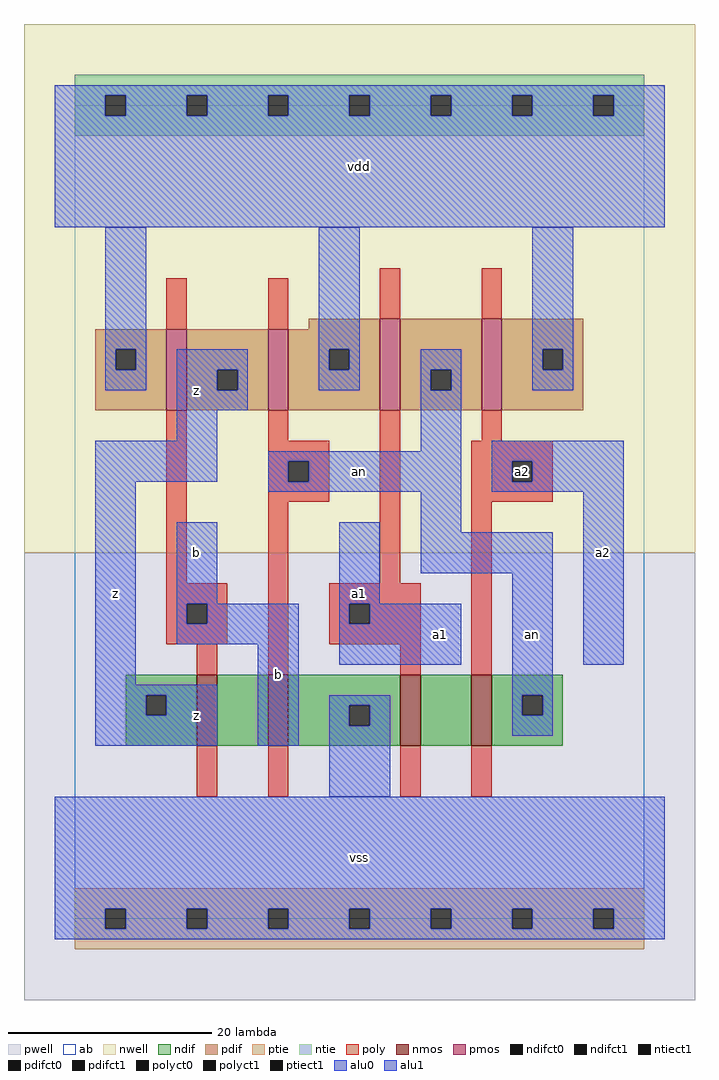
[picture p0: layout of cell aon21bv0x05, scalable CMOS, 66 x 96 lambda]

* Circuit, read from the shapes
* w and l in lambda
.subckt aon21bv0x05 a1 a2 an b vdd vss z
M1 n1 b z vss nfet w=7 l=2
M2 vss an n1 vss nfet w=7 l=2
M3 n2 a1 vss vss nfet w=7 l=2
M4 an a2 n2 vss nfet w=7 l=2
M5 z b vdd vdd pfet w=8 l=2
M6 vdd an z vdd pfet w=8 l=2
M7 an a1 vdd vdd pfet w=9 l=2
M8 vdd a2 an vdd pfet w=9 l=2
.ends

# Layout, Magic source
magic
tech scmos
<< ab >>
rect 0 0 56 80
<< nwell >>
rect -5 36 61 88
<< pwell >>
rect -5 -8 61 36
<< poly >>
rect 9 58 11 63
rect 19 58 21 63
rect 30 59 32 64
rect 40 59 42 64
rect 9 33 11 50
rect 19 47 21 50
rect 19 45 25 47
rect 19 43 21 45
rect 23 43 25 45
rect 19 41 25 43
rect 9 31 15 33
rect 9 29 11 31
rect 13 29 15 31
rect 9 27 15 29
rect 12 24 14 27
rect 19 24 21 41
rect 30 33 32 50
rect 40 47 42 50
rect 39 45 47 47
rect 39 43 43 45
rect 45 43 47 45
rect 39 41 47 43
rect 25 31 34 33
rect 25 29 27 31
rect 29 29 34 31
rect 25 27 34 29
rect 32 24 34 27
rect 39 24 41 41
rect 12 12 14 17
rect 19 12 21 17
rect 32 12 34 17
rect 39 12 41 17
<< ndif >>
rect 5 22 12 24
rect 5 20 7 22
rect 9 20 12 22
rect 5 17 12 20
rect 14 17 19 24
rect 21 21 32 24
rect 21 19 27 21
rect 29 19 32 21
rect 21 17 32 19
rect 34 17 39 24
rect 41 22 48 24
rect 41 20 44 22
rect 46 20 48 22
rect 41 17 48 20
<< pdif >>
rect 23 58 30 59
rect 2 56 9 58
rect 2 54 4 56
rect 6 54 9 56
rect 2 50 9 54
rect 11 54 19 58
rect 11 52 14 54
rect 16 52 19 54
rect 11 50 19 52
rect 21 56 30 58
rect 21 54 25 56
rect 27 54 30 56
rect 21 50 30 54
rect 32 54 40 59
rect 32 52 35 54
rect 37 52 40 54
rect 32 50 40 52
rect 42 56 50 59
rect 42 54 46 56
rect 48 54 50 56
rect 42 50 50 54
<< alu1 >>
rect -2 81 58 82
rect -2 79 3 81
rect 5 79 11 81
rect 13 79 19 81
rect 21 79 27 81
rect 29 79 35 81
rect 37 79 43 81
rect 45 79 51 81
rect 53 79 58 81
rect -2 68 58 79
rect 10 54 17 56
rect 10 52 14 54
rect 16 52 17 54
rect 10 50 17 52
rect 10 47 14 50
rect 2 43 14 47
rect 2 23 6 43
rect 41 45 54 47
rect 41 43 43 45
rect 45 43 54 45
rect 41 42 54 43
rect 10 31 14 39
rect 26 31 30 39
rect 10 29 11 31
rect 13 29 22 31
rect 10 27 22 29
rect 2 22 14 23
rect 2 20 7 22
rect 9 20 14 22
rect 2 17 14 20
rect 18 17 22 27
rect 26 29 27 31
rect 29 29 38 31
rect 26 25 38 29
rect 50 25 54 42
rect -2 1 58 12
rect -2 -1 3 1
rect 5 -1 11 1
rect 13 -1 19 1
rect 21 -1 27 1
rect 29 -1 35 1
rect 37 -1 43 1
rect 45 -1 51 1
rect 53 -1 58 1
rect -2 -2 58 -1
<< ptie >>
rect 0 1 56 3
rect 0 -1 3 1
rect 5 -1 11 1
rect 13 -1 19 1
rect 21 -1 27 1
rect 29 -1 35 1
rect 37 -1 43 1
rect 45 -1 51 1
rect 53 -1 56 1
rect 0 -3 56 -1
<< ntie >>
rect 0 81 56 83
rect 0 79 3 81
rect 5 79 11 81
rect 13 79 19 81
rect 21 79 27 81
rect 29 79 35 81
rect 37 79 43 81
rect 45 79 51 81
rect 53 79 56 81
rect 0 77 56 79
<< nmos >>
rect 12 17 14 24
rect 19 17 21 24
rect 32 17 34 24
rect 39 17 41 24
<< pmos >>
rect 9 50 11 58
rect 19 50 21 58
rect 30 50 32 59
rect 40 50 42 59
<< polyct0 >>
rect 21 43 23 45
<< polyct1 >>
rect 11 29 13 31
rect 43 43 45 45
rect 27 29 29 31
<< ndifct0 >>
rect 27 19 29 21
rect 44 20 46 22
<< ndifct1 >>
rect 7 20 9 22
<< ntiect1 >>
rect 3 79 5 81
rect 11 79 13 81
rect 19 79 21 81
rect 27 79 29 81
rect 35 79 37 81
rect 43 79 45 81
rect 51 79 53 81
<< ptiect1 >>
rect 3 -1 5 1
rect 11 -1 13 1
rect 19 -1 21 1
rect 27 -1 29 1
rect 35 -1 37 1
rect 43 -1 45 1
rect 51 -1 53 1
<< pdifct0 >>
rect 4 54 6 56
rect 25 54 27 56
rect 35 52 37 54
rect 46 54 48 56
<< pdifct1 >>
rect 14 52 16 54
<< alu0 >>
rect 3 56 7 68
rect 24 56 28 68
rect 45 56 49 68
rect 3 54 4 56
rect 6 54 7 56
rect 3 52 7 54
rect 24 54 25 56
rect 27 54 28 56
rect 24 52 28 54
rect 34 54 38 56
rect 34 52 35 54
rect 37 52 38 54
rect 45 54 46 56
rect 48 54 49 56
rect 45 52 49 54
rect 34 46 38 52
rect 19 45 38 46
rect 19 43 21 45
rect 23 43 38 45
rect 19 42 38 43
rect 34 38 38 42
rect 34 34 47 38
rect 43 22 47 34
rect 25 21 31 22
rect 25 19 27 21
rect 29 19 31 21
rect 25 12 31 19
rect 43 20 44 22
rect 46 20 47 22
rect 43 18 47 20
<< labels >>
rlabel alu0 28 44 28 44 6 an
rlabel alu0 45 28 45 28 6 an
rlabel alu1 4 32 4 32 6 z
rlabel alu1 12 20 12 20 6 z
rlabel alu1 12 36 12 36 6 b
rlabel alu1 20 24 20 24 6 b
rlabel alu1 12 52 12 52 6 z
rlabel alu1 28 6 28 6 6 vss
rlabel alu1 28 32 28 32 6 a1
rlabel alu1 36 28 36 28 6 a1
rlabel alu1 28 74 28 74 6 vdd
rlabel alu1 52 36 52 36 6 a2
rlabel polyct1 44 44 44 44 6 a2
<< end >>
